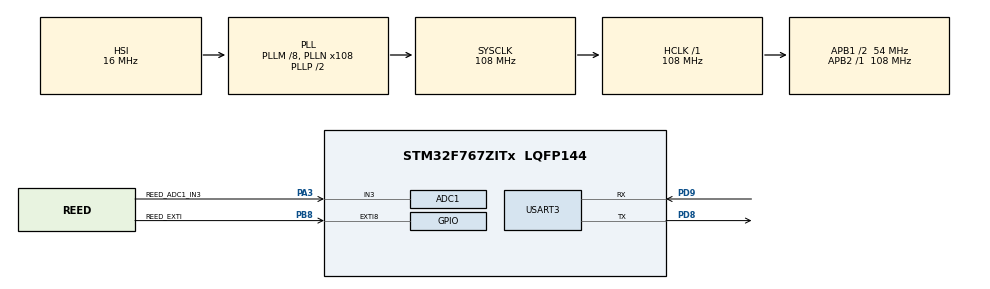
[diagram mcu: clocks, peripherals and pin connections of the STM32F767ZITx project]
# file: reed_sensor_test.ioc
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ADC1.Channel-0\#ChannelRegularConversion=ADC_CHANNEL_3
ADC1.NbrOfConversionFlag=1
ADC1.Rank-0\#ChannelRegularConversion=1
ADC1.SamplingTime-0\#ChannelRegularConversion=ADC_SAMPLETIME_56CYCLES
ADC1.master=1
CORTEX_M7.default_mode_Activation=1
Mcu.Family=STM32F7
Mcu.Name=STM32F767ZITx
Mcu.Package=LQFP144
NVIC.EXTI9_5_IRQn=true\:0\:0\:false\:false\:true\:true\:true\:true
NVIC.PriorityGroup=NVIC_PRIORITYGROUP_4
PA3.GPIO_Label=REED_ADC1_IN3
PA3.Signal=ADCx_IN3
PB8.GPIO_Label=REED_EXTI
PB8.GPIO_ModeDefaultEXTI=GPIO_MODE_IT_FALLING
PB8.GPIO_PuPd=GPIO_PULLUP
PB8.Signal=GPXTI8
PD8.Mode=Asynchronous
PD8.Signal=USART3_TX
PD9.Mode=Asynchronous
PD9.Signal=USART3_RX
PH0/OSC_IN.Mode=HSE-External-Oscillator
PH0/OSC_IN.Signal=RCC_OSC_IN
PH1/OSC_OUT.Mode=HSE-External-Oscillator
PH1/OSC_OUT.Signal=RCC_OSC_OUT
ProjectManager.HeapSize=0x200
ProjectManager.StackSize=0x400
ProjectManager.TargetToolchain=STM32CubeIDE
RCC.48MHZClocksFreq_Value=24000000
RCC.AHBFreq_Value=108000000
RCC.APB1CLKDivider=RCC_HCLK_DIV2
RCC.APB1Freq_Value=54000000
RCC.APB1TimFreq_Value=108000000
RCC.APB2Freq_Value=108000000
RCC.APB2TimFreq_Value=108000000
RCC.CortexFreq_Value=108000000
RCC.HCLKFreq_Value=108000000
RCC.HSE_VALUE=16000000
RCC.HSI_VALUE=16000000
RCC.LSE_VALUE=32768
RCC.PLLM=8
RCC.PLLMUL=RCC_PLL_MUL9
RCC.PLLN=108
RCC.PRESCALERUSB=RCC_USBCLKSOURCE_PLL_DIV1_5
RCC.SYSCLKFreq_VALUE=108000000
RCC.SYSCLKSource=RCC_SYSCLKSOURCE_PLLCLK
RCC.SYSCLKSourceVirtual=RCC_SYSCLKSOURCE_PLLCLK
RCC.USBFreq_Value=108000000
RCC.VCOOutputFreq_Value=216000000
SH.ADCx_IN3.0=ADC1_IN3,IN3
USART3.VirtualMode-Asynchronous=VM_ASYNC
board=NUCLEO-F767ZI

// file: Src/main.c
/* USER CODE BEGIN Header */
/**
  ******************************************************************************
  * @file           : main.c
  * @brief          : Main program body
  ******************************************************************************
  * @attention
  *
  * Copyright (c) 2026 STMicroelectronics.
  * All rights reserved.
  *
  * This software is licensed under terms that can be found in the LICENSE file
  * in the root directory of this software component.
  * If no LICENSE file comes with this software, it is provided AS-IS.
  *
  ******************************************************************************
  */
/* USER CODE END Header */
#include "main.h"

/* USER CODE BEGIN Includes */
#include<string.h> // for strlen()
#include<stdio.h> // for sprintf()

/* USER CODE END Includes */

ADC_HandleTypeDef hadc1;

UART_HandleTypeDef huart3;

void SystemClock_Config(void);
static void MPU_Config(void);
static void MX_GPIO_Init(void);
static void MX_ADC1_Init(void);
static void MX_USART3_UART_Init(void);

/* USER CODE BEGIN 0 */
volatile uint32_t magnet_detect_count = 0;
volatile uint8_t magnet_event_flag = 0;

char uart_buf[128];
uint16_t uart_buf_len;
uint32_t adc_val = 0;
float voltage = 0.0f;

uint32_t Read_ADC1_Single(void) {
    HAL_ADC_Start(&hadc1);
    if (HAL_ADC_PollForConversion(&hadc1, 10) == HAL_OK) {
        /* Bare Metal Register Alternative to HAL_ADC_GetValue: */
        /* uint32_t val = ADC1->DR; */
        uint32_t val = HAL_ADC_GetValue(&hadc1);
        HAL_ADC_Stop(&hadc1);
        return val;
    }
    HAL_ADC_Stop(&hadc1);
    return 0;
}

/* USER CODE END 0 */

int main(void)
{

  /* USER CODE BEGIN 1 */
  char uart_buf[128];
  int uart_buf_len;
  uint16_t timer_val;

  /* USER CODE END 1 */

  /* MPU Configuration--------------------------------------------------------*/
  MPU_Config();

  /* MCU Configuration--------------------------------------------------------*/

  /* Reset of all peripherals, Initializes the Flash interface and the Systick. */
  HAL_Init();

  /* Configure the system clock */
  SystemClock_Config();

  /* Initialize all configured peripherals */
  MX_GPIO_Init();
  MX_ADC1_Init();
  MX_USART3_UART_Init();
  /* USER CODE BEGIN 2 */
  // Initial text on the screen
  uart_buf_len = sprintf(uart_buf, "Reed sensor test started\r\n");
  HAL_UART_Transmit(&huart3, (uint8_t *)uart_buf, uart_buf_len, 100);

  /* USER CODE END 2 */

  /* Infinite loop */
  while (1)
  {

    /* USER CODE BEGIN 3 */

    if (magnet_event_flag) {
        magnet_event_flag = 0;
        uart_buf_len = sprintf(uart_buf, "Magnet Detected! Count: %lu\r\n", magnet_detect_count); // unfortunately there is no str() func. in C.
        HAL_UART_Transmit(&huart3, (uint8_t *)uart_buf, uart_buf_len, 100);
    }

    /* Periodically Read Analog Signal on PA3 */
        adc_val = Read_ADC1_Single();
        voltage = (adc_val * 3.3f) / 4095.0f;

        uart_buf_len = sprintf(uart_buf, "ADC Raw: %4lu | Voltage: %.2fV\r\n", adc_val, voltage);
        HAL_UART_Transmit(&huart3, (uint8_t *)uart_buf, uart_buf_len, 100);

        HAL_Delay(500); // Poll ADC twice per second
  }
  /* USER CODE END 3 */
}

void SystemClock_Config(void)
{
  RCC_OscInitTypeDef RCC_OscInitStruct = {0};
  RCC_ClkInitTypeDef RCC_ClkInitStruct = {0};

  /** Configure the main internal regulator output voltage
  */
  __HAL_RCC_PWR_CLK_ENABLE();
  __HAL_PWR_VOLTAGESCALING_CONFIG(PWR_REGULATOR_VOLTAGE_SCALE3);

  /** Initializes the RCC Oscillators according to the specified parameters
  * in the RCC_OscInitTypeDef structure.
  */
  RCC_OscInitStruct.OscillatorType = RCC_OSCILLATORTYPE_HSI;
  RCC_OscInitStruct.HSIState = RCC_HSI_ON;
  RCC_OscInitStruct.HSICalibrationValue = RCC_HSICALIBRATION_DEFAULT;
  RCC_OscInitStruct.PLL.PLLState = RCC_PLL_ON;
  RCC_OscInitStruct.PLL.PLLSource = RCC_PLLSOURCE_HSI;
  RCC_OscInitStruct.PLL.PLLM = 8;
  RCC_OscInitStruct.PLL.PLLN = 108;
  RCC_OscInitStruct.PLL.PLLP = RCC_PLLP_DIV2;
  RCC_OscInitStruct.PLL.PLLQ = 2;
  RCC_OscInitStruct.PLL.PLLR = 2;
  if (HAL_RCC_OscConfig(&RCC_OscInitStruct) != HAL_OK)
  {
    Error_Handler();
  }

  /** Activate the Over-Drive mode
  */
  if (HAL_PWREx_EnableOverDrive() != HAL_OK)
  {
    Error_Handler();
  }

  /** Initializes the CPU, AHB and APB buses clocks
  */
  RCC_ClkInitStruct.ClockType = RCC_CLOCKTYPE_HCLK|RCC_CLOCKTYPE_SYSCLK
                              |RCC_CLOCKTYPE_PCLK1|RCC_CLOCKTYPE_PCLK2;
  RCC_ClkInitStruct.SYSCLKSource = RCC_SYSCLKSOURCE_PLLCLK;
  RCC_ClkInitStruct.AHBCLKDivider = RCC_SYSCLK_DIV1;
  RCC_ClkInitStruct.APB1CLKDivider = RCC_HCLK_DIV2;
  RCC_ClkInitStruct.APB2CLKDivider = RCC_HCLK_DIV1;

  if (HAL_RCC_ClockConfig(&RCC_ClkInitStruct, FLASH_LATENCY_3) != HAL_OK)
  {
    Error_Handler();
  }
}

static void MX_ADC1_Init(void)
{

  ADC_ChannelConfTypeDef sConfig = {0};

  /** Configure the global features of the ADC (Clock, Resolution, Data Alignment and number of conversion)
  */
  hadc1.Instance = ADC1;
  hadc1.Init.ClockPrescaler = ADC_CLOCK_SYNC_PCLK_DIV4;
  hadc1.Init.Resolution = ADC_RESOLUTION_12B;
  hadc1.Init.ScanConvMode = ADC_SCAN_DISABLE;
  hadc1.Init.ContinuousConvMode = DISABLE;
  hadc1.Init.DiscontinuousConvMode = DISABLE;
  hadc1.Init.ExternalTrigConvEdge = ADC_EXTERNALTRIGCONVEDGE_NONE;
  hadc1.Init.ExternalTrigConv = ADC_SOFTWARE_START;
  hadc1.Init.DataAlign = ADC_DATAALIGN_RIGHT;
  hadc1.Init.NbrOfConversion = 1;
  hadc1.Init.DMAContinuousRequests = DISABLE;
  hadc1.Init.EOCSelection = ADC_EOC_SINGLE_CONV;
  if (HAL_ADC_Init(&hadc1) != HAL_OK)
  {
    Error_Handler();
  }

  /** Configure for the selected ADC regular channel its corresponding rank in the sequencer and its sample time.
  */
  sConfig.Channel = ADC_CHANNEL_3;
  sConfig.Rank = ADC_REGULAR_RANK_1;
  sConfig.SamplingTime = ADC_SAMPLETIME_15CYCLES;
  if (HAL_ADC_ConfigChannel(&hadc1, &sConfig) != HAL_OK)
  {
    Error_Handler();
  }

}

static void MX_USART3_UART_Init(void)
{

  huart3.Instance = USART3;
  huart3.Init.BaudRate = 115200;
  huart3.Init.WordLength = UART_WORDLENGTH_8B;
  huart3.Init.StopBits = UART_STOPBITS_1;
  huart3.Init.Parity = UART_PARITY_NONE;
  huart3.Init.Mode = UART_MODE_TX_RX;
  huart3.Init.HwFlowCtl = UART_HWCONTROL_NONE;
  huart3.Init.OverSampling = UART_OVERSAMPLING_16;
  huart3.Init.OneBitSampling = UART_ONE_BIT_SAMPLE_DISABLE;
  huart3.AdvancedInit.AdvFeatureInit = UART_ADVFEATURE_NO_INIT;
  if (HAL_UART_Init(&huart3) != HAL_OK)
  {
    Error_Handler();
  }

}

static void MX_GPIO_Init(void)
{
  GPIO_InitTypeDef GPIO_InitStruct = {0};

  /* GPIO Ports Clock Enable */
  __HAL_RCC_GPIOH_CLK_ENABLE();
  __HAL_RCC_GPIOA_CLK_ENABLE();
  __HAL_RCC_GPIOD_CLK_ENABLE();
  __HAL_RCC_GPIOB_CLK_ENABLE();

  /*Configure GPIO pin : REED_EXTI_Pin */
  GPIO_InitStruct.Pin = REED_EXTI_Pin;
  GPIO_InitStruct.Mode = GPIO_MODE_IT_FALLING;
  GPIO_InitStruct.Pull = GPIO_PULLUP;
  HAL_GPIO_Init(REED_EXTI_GPIO_Port, &GPIO_InitStruct);

  /* EXTI interrupt init*/
  HAL_NVIC_SetPriority(EXTI9_5_IRQn, 0, 0);
  HAL_NVIC_EnableIRQ(EXTI9_5_IRQn);

}

/* USER CODE BEGIN 4 */
void HAL_GPIO_EXTI_Callback(uint16_t GPIO_Pin) {
    if (GPIO_Pin == GPIO_PIN_8) {
        magnet_detect_count++;
        magnet_event_flag = 1;

        /* Bare Metal Register Manipulation:
           Toggle Green LED (LD1 on PB0) directly bypassing HAL wrapper for zero latency */
        GPIOB->ODR ^= GPIO_PIN_0;
    }
}

/* USER CODE END 4 */

 /* MPU Configuration */

void MPU_Config(void)
{
  MPU_Region_InitTypeDef MPU_InitStruct = {0};

  /* Disables the MPU */
  HAL_MPU_Disable();

  /** Initializes and configures the Region and the memory to be protected
  */
  MPU_InitStruct.Enable = MPU_REGION_ENABLE;
  MPU_InitStruct.Number = MPU_REGION_NUMBER0;
  MPU_InitStruct.BaseAddress = 0x0;
  MPU_InitStruct.Size = MPU_REGION_SIZE_4GB;
  MPU_InitStruct.SubRegionDisable = 0x87;
  MPU_InitStruct.TypeExtField = MPU_TEX_LEVEL0;
  MPU_InitStruct.AccessPermission = MPU_REGION_NO_ACCESS;
  MPU_InitStruct.DisableExec = MPU_INSTRUCTION_ACCESS_DISABLE;
  MPU_InitStruct.IsShareable = MPU_ACCESS_SHAREABLE;
  MPU_InitStruct.IsCacheable = MPU_ACCESS_NOT_CACHEABLE;
  MPU_InitStruct.IsBufferable = MPU_ACCESS_NOT_BUFFERABLE;

  HAL_MPU_ConfigRegion(&MPU_InitStruct);
  /* Enables the MPU */
  HAL_MPU_Enable(MPU_PRIVILEGED_DEFAULT);

}

void Error_Handler(void)
{
  __disable_irq();
  while (1)
  {
  }
}
